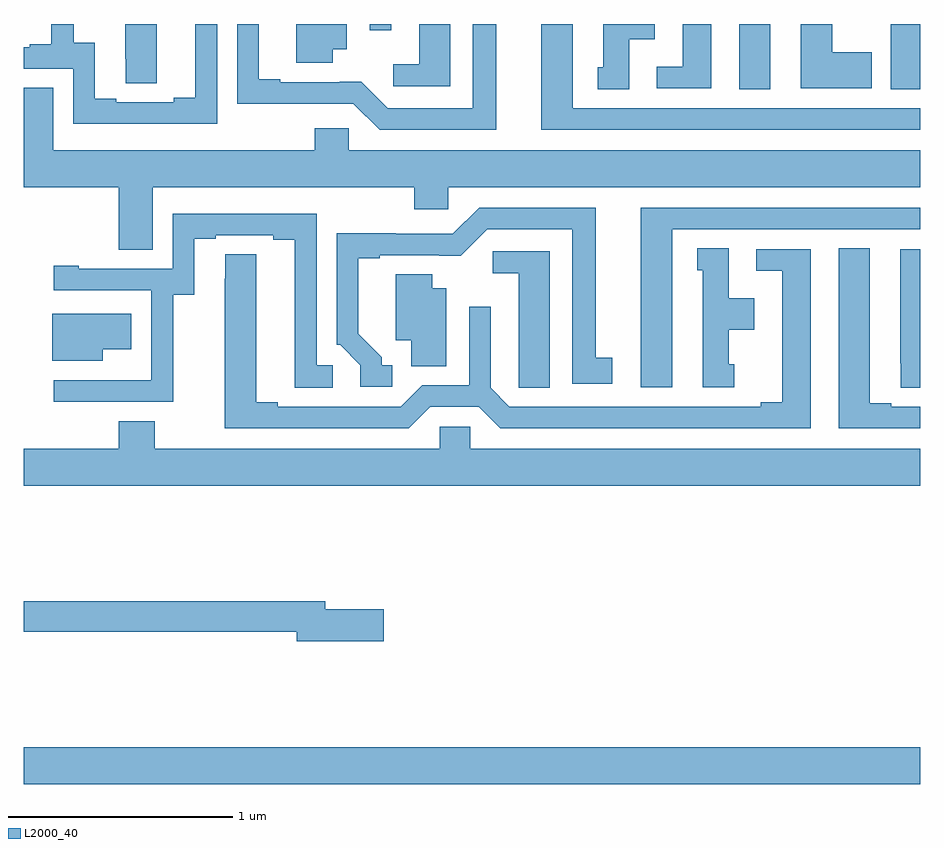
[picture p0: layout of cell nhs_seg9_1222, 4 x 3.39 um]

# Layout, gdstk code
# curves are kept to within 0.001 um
import gdstk
lib = gdstk.Library(unit=1e-6, precision=1e-09)
def R(c, l, rs):  # rectangles x0, y0, x1, y1
    for r in rs: c.add(gdstk.rectangle(r[:2], r[2:], *l))
def P(c, l, *ps):  # polygons
    for p in ps: c.add(gdstk.Polygon(p, *l))
L2000_40 = (2000, 40)

nhs_seg9_1222 = lib.new_cell('nhs_seg9_1222')
R(nhs_seg9_1222, L2000_40, [(179,1175.108,183,1175.272), (182.192,1178.209,182.332,1178.5), (182.87,1178.209,183,1178.5), (180.543,1178.472,180.639,1178.5)])
P(nhs_seg9_1222, L2000_40, [(179.862,1178.5),(179.765,1178.5),(179.765,1178.171),(179.669,1178.171),(179.669,1178.151),(179.413,1178.151),(179.413,1178.166),(179.317,1178.166),(179.317,1178.417),(179.223,1178.417),(179.223,1178.5),(179.123,1178.5),(179.123,1178.41),(179.027,1178.41),(179.027,1178.397),(179,1178.397),(179,1178.301),(179.22,1178.301),(179.22,1178.055),(179.862,1178.055)],
  [(181.108,1178.5),(181.004,1178.5),(181.004,1178.124),(180.624,1178.124),(180.506,1178.242),(180.145,1178.241),(180.145,1178.254),(180.049,1178.254),(180.049,1178.5),(179.952,1178.5),(179.952,1178.144),(180.471,1178.145),(180.588,1178.028),(181.108,1178.028)],
  [(182.785,1178.373),(182.608,1178.373),(182.608,1178.5),(182.468,1178.5),(182.468,1178.213),(182.785,1178.213)],
  [(180.904,1178.5),(180.764,1178.5),(180.764,1178.32),(180.648,1178.32),(180.648,1178.223),(180.904,1178.223)],
  [(179.593,1178.5),(179.453,1178.5),(179.453,1178.344),(179.454,1178.344),(179.454,1178.236),(179.593,1178.236)],
  [(180.379,1178.387),(180.442,1178.387),(180.442,1178.5),(180.215,1178.5),(180.215,1178.326),(180.379,1178.326)],
  [(182.068,1178.5),(181.94,1178.5),(181.94,1178.31),(181.824,1178.31),(181.824,1178.214),(182.068,1178.214)],
  [(181.702,1178.432),(181.816,1178.432),(181.816,1178.5),(181.586,1178.5),(181.586,1178.307),(181.562,1178.307),(181.562,1178.209),(181.702,1178.209)],
  [(183,1178.124),(181.45,1178.124),(181.45,1178.5),(181.31,1178.5),(181.31,1178.028),(183,1178.028)],
  [(179.575,1177.772),(180.743,1177.772),(180.743,1177.674),(180.894,1177.674),(180.894,1177.772),(183,1177.772),(183,1177.936),(180.45,1177.936),(180.45,1178.034),(180.299,1178.034),(180.299,1177.936),(179.131,1177.936),(179.131,1178.216),(179,1178.216),(179,1177.772),(179.423,1177.772),(179.423,1177.492),(179.575,1177.492)],
  [(180.643,1176.978),(180.598,1176.978),(180.598,1177.013),(180.493,1177.118),(180.493,1177.455),(180.589,1177.455),(180.589,1177.467),(180.95,1177.466),(181.068,1177.584),(181.448,1177.584),(181.448,1176.894),(181.627,1176.894),(181.627,1177.01),(181.552,1177.01),(181.552,1177.68),(181.032,1177.68),(180.915,1177.563),(180.659,1177.563),(180.659,1177.565),(180.396,1177.565),(180.396,1177.068),(180.411,1177.068),(180.501,1176.978),(180.501,1176.882),(180.643,1176.882)],
  [(181.894,1177.584),(183,1177.584),(183,1177.68),(181.754,1177.68),(181.754,1176.879),(181.894,1176.879)],
  [(179.667,1177.291),(179.761,1177.291),(179.761,1177.542),(179.857,1177.542),(179.857,1177.557),(180.113,1177.557),(180.113,1177.537),(180.209,1177.537),(180.209,1176.877),(180.379,1176.877),(180.379,1176.978),(180.306,1176.978),(180.306,1177.653),(179.664,1177.653),(179.664,1177.407),(179.245,1177.407),(179.245,1177.42),(179.133,1177.42),(179.133,1177.311),(179.568,1177.311),(179.568,1176.91),(179.567,1176.91),(179.567,1176.909),(179.133,1176.909),(179.133,1176.813),(179.667,1176.813)],
  [(182.17,1176.981),(182.146,1176.981),(182.146,1177.136),(182.26,1177.136),(182.26,1177.276),(182.146,1177.276),(182.146,1177.499),(182.006,1177.499),(182.006,1177.401),(182.03,1177.401),(182.03,1176.879),(182.17,1176.879)],
  [(183,1176.792),(182.872,1176.792),(182.872,1176.807),(182.776,1176.807),(182.776,1177.499),(182.636,1177.499),(182.636,1176.696),(183,1176.696)],
  [(183,1177.495),(182.912,1177.495),(182.912,1176.985),(182.913,1176.985),(182.913,1176.877),(183,1176.877)],
  [(180.813,1176.792),(181.031,1176.792),(181.127,1176.696),(182.512,1176.696),(182.512,1177.494),(182.268,1177.494),(182.268,1177.398),(182.384,1177.398),(182.384,1176.812),(182.288,1176.812),(182.288,1176.792),(181.167,1176.792),(181.083,1176.876),(181.083,1177.237),(180.987,1177.237),(180.987,1176.888),(180.777,1176.888),(180.681,1176.792),(180.133,1176.792),(180.133,1176.812),(180.037,1176.812),(180.037,1177.472),(179.898,1177.472),(179.897,1176.696),(180.717,1176.696)],
  [(181.348,1177.485),(181.092,1177.485),(181.092,1177.388),(181.208,1177.388),(181.208,1176.985),(181.209,1176.985),(181.209,1176.877),(181.348,1176.877)],
  [(180.886,1177.321),(180.823,1177.321),(180.823,1177.382),(180.659,1177.382),(180.659,1177.088),(180.728,1177.088),(180.728,1176.973),(180.886,1176.973)],
  [(179.353,1177.049),(179.479,1177.049),(179.479,1177.207),(179.126,1177.207),(179.126,1176.998),(179.353,1176.998)],
  [(183,1176.604),(180.993,1176.604),(180.993,1176.702),(180.855,1176.702),(180.855,1176.604),(179.583,1176.604),(179.583,1176.728),(179.423,1176.728),(179.423,1176.604),(179,1176.604),(179,1176.44),(183,1176.44)],
  [(180.607,1175.888),(180.346,1175.888),(180.346,1175.924),(179,1175.924),(179,1175.788),(180.218,1175.788),(180.218,1175.746),(180.607,1175.746)])

lib.write_gds('nhs_seg9_1222.gds')
